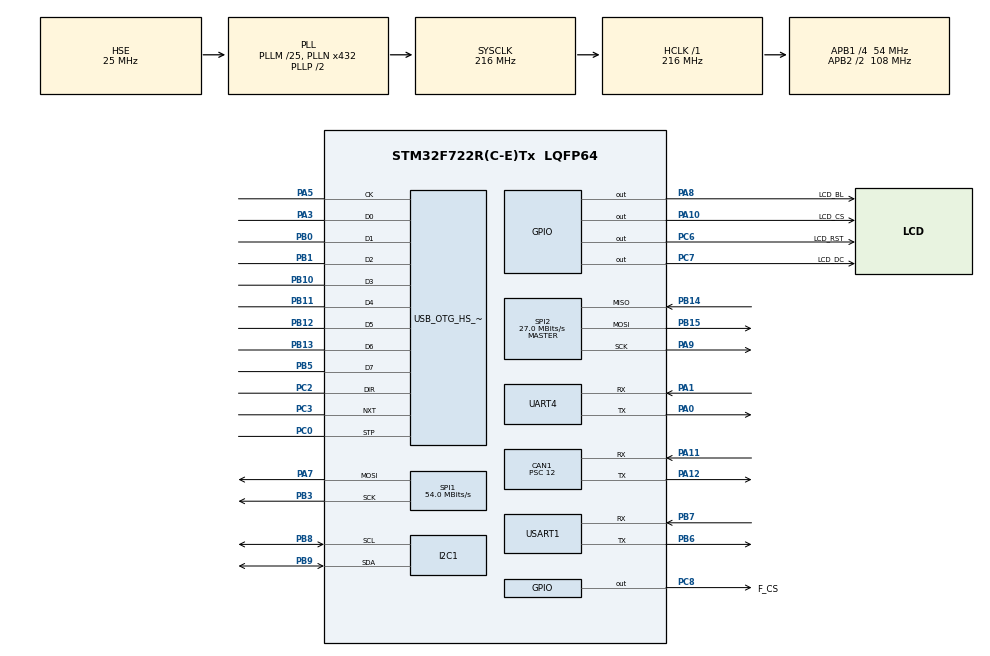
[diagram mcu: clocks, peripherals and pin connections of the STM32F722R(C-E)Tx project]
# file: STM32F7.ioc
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CAN1.ABOM=ENABLE
CAN1.AWUM=ENABLE
CAN1.BS1=CAN_BS1_5TQ
CAN1.BS2=CAN_BS2_3TQ
CAN1.CalculateBaudRate=500000
CAN1.CalculateTimeBit=2000
CAN1.CalculateTimeQuantum=222.22222222222223
CAN1.NART=ENABLE
CAN1.Prescaler=12
CAN1.TXFP=ENABLE
CORTEX_M7.default_mode_Activation=1
Dma.Request0=SPI1_TX
Dma.Request1=SPI2_TX
Dma.Request2=UART4_RX
Dma.Request3=USART1_RX
Dma.Request4=USART1_TX
Dma.SPI1_TX.0.Direction=DMA_MEMORY_TO_PERIPH
Dma.SPI1_TX.0.FIFOMode=DMA_FIFOMODE_DISABLE
Dma.SPI1_TX.0.Instance=DMA2_Stream3
Dma.SPI1_TX.0.MemDataAlignment=DMA_MDATAALIGN_HALFWORD
Dma.SPI1_TX.0.MemInc=DMA_MINC_ENABLE
Dma.SPI1_TX.0.Mode=DMA_NORMAL
Dma.SPI1_TX.0.PeriphDataAlignment=DMA_PDATAALIGN_HALFWORD
Dma.SPI1_TX.0.PeriphInc=DMA_PINC_DISABLE
Dma.SPI1_TX.0.Priority=DMA_PRIORITY_VERY_HIGH
Dma.SPI2_TX.1.Direction=DMA_MEMORY_TO_PERIPH
Dma.SPI2_TX.1.FIFOMode=DMA_FIFOMODE_DISABLE
Dma.SPI2_TX.1.Instance=DMA1_Stream4
Dma.SPI2_TX.1.MemDataAlignment=DMA_MDATAALIGN_HALFWORD
Dma.SPI2_TX.1.MemInc=DMA_MINC_ENABLE
Dma.SPI2_TX.1.Mode=DMA_NORMAL
Dma.SPI2_TX.1.PeriphDataAlignment=DMA_PDATAALIGN_HALFWORD
Dma.SPI2_TX.1.PeriphInc=DMA_PINC_DISABLE
Dma.SPI2_TX.1.Priority=DMA_PRIORITY_VERY_HIGH
Dma.UART4_RX.2.Direction=DMA_PERIPH_TO_MEMORY
Dma.UART4_RX.2.FIFOMode=DMA_FIFOMODE_DISABLE
Dma.UART4_RX.2.Instance=DMA1_Stream2
Dma.UART4_RX.2.MemDataAlignment=DMA_MDATAALIGN_BYTE
Dma.UART4_RX.2.MemInc=DMA_MINC_ENABLE
Dma.UART4_RX.2.Mode=DMA_CIRCULAR
Dma.UART4_RX.2.PeriphDataAlignment=DMA_PDATAALIGN_BYTE
Dma.UART4_RX.2.PeriphInc=DMA_PINC_DISABLE
Dma.UART4_RX.2.Priority=DMA_PRIORITY_LOW
Dma.USART1_RX.3.Direction=DMA_PERIPH_TO_MEMORY
Dma.USART1_RX.3.FIFOMode=DMA_FIFOMODE_DISABLE
Dma.USART1_RX.3.Instance=DMA2_Stream2
Dma.USART1_RX.3.MemDataAlignment=DMA_MDATAALIGN_BYTE
Dma.USART1_RX.3.MemInc=DMA_MINC_ENABLE
Dma.USART1_RX.3.Mode=DMA_CIRCULAR
Dma.USART1_RX.3.PeriphDataAlignment=DMA_PDATAALIGN_BYTE
Dma.USART1_RX.3.PeriphInc=DMA_PINC_DISABLE
Dma.USART1_RX.3.Priority=DMA_PRIORITY_LOW
Dma.USART1_TX.4.Direction=DMA_MEMORY_TO_PERIPH
Dma.USART1_TX.4.FIFOMode=DMA_FIFOMODE_DISABLE
Dma.USART1_TX.4.Instance=DMA2_Stream7
Dma.USART1_TX.4.MemDataAlignment=DMA_MDATAALIGN_BYTE
Dma.USART1_TX.4.MemInc=DMA_MINC_ENABLE
Dma.USART1_TX.4.Mode=DMA_NORMAL
Dma.USART1_TX.4.PeriphDataAlignment=DMA_PDATAALIGN_BYTE
Dma.USART1_TX.4.PeriphInc=DMA_PINC_DISABLE
Dma.USART1_TX.4.Priority=DMA_PRIORITY_LOW
FREERTOS.Tasks01=defaultTask,0,128,StartDefaultTask,Default,NULL,Dynamic,NULL,NULL;myTask02,0,128,screen_task,Default,NULL,Dynamic,NULL,NULL;myTask03,1,256,StartTask03,Default,NULL,Dynamic,NULL,NULL
I2C1.Timing=0x20404768
Mcu.Family=STM32F7
Mcu.Name=STM32F722R(C-E)Tx
Mcu.Package=LQFP64
NVIC.CAN1_RX0_IRQn=true\:5\:0\:false\:false\:true\:true\:true\:true\:true
NVIC.DMA1_Stream2_IRQn=true\:5\:0\:false\:false\:true\:true\:false\:true\:true
NVIC.DMA1_Stream4_IRQn=true\:5\:0\:false\:false\:true\:true\:false\:true\:true
NVIC.DMA2_Stream2_IRQn=true\:5\:0\:false\:false\:true\:true\:false\:true\:true
NVIC.DMA2_Stream3_IRQn=true\:5\:0\:false\:false\:true\:true\:false\:true\:true
NVIC.DMA2_Stream7_IRQn=true\:5\:0\:false\:false\:true\:true\:false\:true\:true
NVIC.OTG_HS_IRQn=true\:5\:0\:false\:false\:true\:true\:true\:true\:true
NVIC.PriorityGroup=NVIC_PRIORITYGROUP_4
NVIC.TIM8_TRG_COM_TIM14_IRQn=true\:15\:0\:false\:false\:true\:false\:false\:true\:true
NVIC.TimeBase=TIM8_TRG_COM_TIM14_IRQn
NVIC.TimeBaseIP=TIM14
NVIC.UART4_IRQn=true\:6\:0\:true\:false\:true\:true\:true\:true\:true
NVIC.USART1_IRQn=true\:6\:0\:true\:false\:true\:true\:true\:true\:true
PA0-WKUP.Mode=Asynchronous
PA0-WKUP.Signal=UART4_TX
PA1.Mode=Asynchronous
PA1.Signal=UART4_RX
PA10.GPIO_Label=LCD_CS
PA10.Signal=GPIO_Output
PA11.Mode=CAN_Activate
PA11.Signal=CAN1_RX
PA12.Mode=CAN_Activate
PA12.Signal=CAN1_TX
PA13.Mode=Serial_Wire
PA13.Signal=SYS_JTMS-SWDIO
PA14.Mode=Serial_Wire
PA14.Signal=SYS_JTCK-SWCLK
PA3.Mode=External_Phy_Device
PA3.Signal=USB_OTG_HS_ULPI_D0
PA5.Mode=External_Phy_Device
PA5.Signal=USB_OTG_HS_ULPI_CK
PA7.Mode=TX_Only_Simplex_Unidirect_Master
PA7.Signal=SPI1_MOSI
PA8.GPIO_Label=LCD_BL
PA8.GPIO_PuPd=GPIO_NOPULL
PA8.PinState=GPIO_PIN_RESET
PA8.Signal=GPIO_Output
PA9.Mode=Full_Duplex_Master
PA9.Signal=SPI2_SCK
PB0.Mode=External_Phy_Device
PB0.Signal=USB_OTG_HS_ULPI_D1
PB1.Mode=External_Phy_Device
PB1.Signal=USB_OTG_HS_ULPI_D2
PB10.Mode=External_Phy_Device
PB10.Signal=USB_OTG_HS_ULPI_D3
PB11.Mode=External_Phy_Device
PB11.Signal=USB_OTG_HS_ULPI_D4
PB12.Mode=External_Phy_Device
PB12.Signal=USB_OTG_HS_ULPI_D5
PB13.Mode=External_Phy_Device
PB13.Signal=USB_OTG_HS_ULPI_D6
PB14.Mode=Full_Duplex_Master
PB14.Signal=SPI2_MISO
PB15.Mode=Full_Duplex_Master
PB15.Signal=SPI2_MOSI
PB3.Mode=TX_Only_Simplex_Unidirect_Master
PB3.Signal=SPI1_SCK
PB5.Mode=External_Phy_Device
PB5.Signal=USB_OTG_HS_ULPI_D7
PB6.Mode=Asynchronous
PB6.Signal=USART1_TX
PB7.Mode=Asynchronous
PB7.Signal=USART1_RX
PB8.Mode=I2C
PB8.Signal=I2C1_SCL
PB9.Mode=I2C
PB9.Signal=I2C1_SDA
PC0.Mode=External_Phy_Device
PC0.Signal=USB_OTG_HS_ULPI_STP
PC2.Mode=External_Phy_Device
PC2.Signal=USB_OTG_HS_ULPI_DIR
PC3.Mode=External_Phy_Device
PC3.Signal=USB_OTG_HS_ULPI_NXT
PC6.GPIO_Label=LCD_RST
PC6.Signal=GPIO_Output
PC7.GPIO_Label=LCD_DC
PC7.Signal=GPIO_Output
PC8.GPIO_Label=F_CS
PC8.Signal=GPIO_Output
PH0-OSC_IN.Mode=HSE-External-Oscillator
PH0-OSC_IN.Signal=RCC_OSC_IN
PH1-OSC_OUT.Mode=HSE-External-Oscillator
PH1-OSC_OUT.Signal=RCC_OSC_OUT
ProjectManager.HeapSize=0x600
ProjectManager.StackSize=0x400
ProjectManager.TargetToolchain=MDK-ARM V5.32
RCC.AHBFreq_Value=216000000
RCC.APB1CLKDivider=RCC_HCLK_DIV4
RCC.APB1Freq_Value=54000000
RCC.APB1TimFreq_Value=108000000
RCC.APB2CLKDivider=RCC_HCLK_DIV2
RCC.APB2Freq_Value=108000000
RCC.APB2TimFreq_Value=216000000
RCC.CortexFreq_Value=216000000
RCC.HCLKFreq_Value=216000000
RCC.HSE_VALUE=25000000
RCC.HSI_VALUE=16000000
RCC.LSE_VALUE=32768
RCC.PLLM=25
RCC.PLLN=432
RCC.PLLSourceVirtual=RCC_PLLSOURCE_HSE
RCC.SYSCLKFreq_VALUE=216000000
RCC.SYSCLKSource=RCC_SYSCLKSOURCE_PLLCLK
RCC.USBFreq_Value=216000000
RCC.VCOOutputFreq_Value=432000000
SPI1.BaudRatePrescaler=SPI_BAUDRATEPRESCALER_2
SPI1.CalculateBaudRate=54.0 MBits/s
SPI1.DataSize=SPI_DATASIZE_8BIT
SPI1.Direction=SPI_DIRECTION_2LINES
SPI1.Mode=SPI_MODE_MASTER
SPI1.VirtualType=VM_MASTER
SPI2.BaudRatePrescaler=SPI_BAUDRATEPRESCALER_2
SPI2.CalculateBaudRate=27.0 MBits/s
SPI2.DataSize=SPI_DATASIZE_8BIT
SPI2.Direction=SPI_DIRECTION_2LINES
SPI2.Mode=SPI_MODE_MASTER
SPI2.VirtualType=VM_MASTER
USART1.VirtualMode-Asynchronous=VM_ASYNC
USB_DEVICE.APP_RX_DATA_SIZE-CDC_HS=512
USB_DEVICE.APP_TX_DATA_SIZE-CDC_HS=512
USB_DEVICE.CLASS_NAME_HS=CDC
USB_DEVICE.VirtualMode-CDC_HS=Cdc
USB_DEVICE.VirtualModeHS=Cdc_HS
USB_OTG_HS.VirtualMode-External_Phy_Device=Ext_Phy_Device
VP_FREERTOS_VS_CMSIS_V1.Mode=CMSIS_V1
VP_SYS_VS_tim14.Mode=TIM14
VP_USB_DEVICE_VS_USB_DEVICE_CDC_HS.Mode=CDC_HS
board=custom

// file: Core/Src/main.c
/* USER CODE BEGIN Header */
/**
  ******************************************************************************
  * @file           : main.c
  * @brief          : Main program body
  ******************************************************************************
  * @attention
  *
  * Copyright (c) 2024 STMicroelectronics.
  * All rights reserved.
  *
  * This software is licensed under terms that can be found in the LICENSE file
  * in the root directory of this software component.
  * If no LICENSE file comes with this software, it is provided AS-IS.
  *
  ******************************************************************************
  */
/* USER CODE END Header */
#include "main.h"
#include "cmsis_os.h"
#include "can.h"
#include "dma.h"
#include "i2c.h"
#include "spi.h"
#include "usart.h"
#include "usb_device.h"
#include "gpio.h"

/* USER CODE BEGIN Includes */
#include "screen.h"
#include "image.h"
#include "configurations.h"
#include "User_usb.h"
#include "mpu6050.h"
/* USER CODE END Includes */

/* USER CODE BEGIN PM */
extern uint8_t gImage_1[4][43200];
extern uint8_t gImage_2[4][43200];
extern USBD_HandleTypeDef hUsbDeviceHS;
extern USBD_CDC_HandleTypeDef *hcdc;

uint8_t UART1_Rx_Buf[16];
/* USER CODE END PM */

void SystemClock_Config(void);
static void MPU_Config(void);
void MX_FREERTOS_Init(void);

int main(void)
{

  /* MPU Configuration--------------------------------------------------------*/
  MPU_Config();

  /* MCU Configuration--------------------------------------------------------*/

  /* Reset of all peripherals, Initializes the Flash interface and the Systick. */
  HAL_Init();

  /* Configure the system clock */
  SystemClock_Config();

  /* Initialize all configured peripherals */
  MX_GPIO_Init();
  MX_DMA_Init();
  MX_CAN1_Init();
  MX_I2C1_Init();
  MX_UART4_Init();
  MX_USART1_UART_Init();
  MX_SPI1_Init();
  MX_SPI2_Init();
  /* USER CODE BEGIN 2 */
//  __HAL_UART_ENABLE_IT(&huart1, UART_IT_IDLE);
	HAL_UART_Receive_DMA(&huart1,UART1_Rx_Buf,16u);

	CAN1_Filterinit_And_Start();

	MPU6050_Init();//MPU6050初始化配置
	if(MPU6050ReadID() == 0)//读取MPU6050 ID
	{
	  while(1);
  }

	//HAL_Delay(1500);
	screen_init(DEGREE_0);
	Screen_SetWindow(0, 239, 0, 239);

  /* USER CODE END 2 */

  /* Call init function for freertos objects (in cmsis_os2.c) */
  MX_FREERTOS_Init();

  /* Start scheduler */
  osKernelStart();

  /* We should never get here as control is now taken by the scheduler */

  /* Infinite loop */
  while (1)
  {

  }
}

void SystemClock_Config(void)
{
  RCC_OscInitTypeDef RCC_OscInitStruct = {0};
  RCC_ClkInitTypeDef RCC_ClkInitStruct = {0};

  /** Configure the main internal regulator output voltage
  */
  __HAL_RCC_PWR_CLK_ENABLE();
  __HAL_PWR_VOLTAGESCALING_CONFIG(PWR_REGULATOR_VOLTAGE_SCALE1);

  /** Initializes the RCC Oscillators according to the specified parameters
  * in the RCC_OscInitTypeDef structure.
  */
  RCC_OscInitStruct.OscillatorType = RCC_OSCILLATORTYPE_HSE;
  RCC_OscInitStruct.HSEState = RCC_HSE_ON;
  RCC_OscInitStruct.PLL.PLLState = RCC_PLL_ON;
  RCC_OscInitStruct.PLL.PLLSource = RCC_PLLSOURCE_HSE;
  RCC_OscInitStruct.PLL.PLLM = 25;
  RCC_OscInitStruct.PLL.PLLN = 432;
  RCC_OscInitStruct.PLL.PLLP = RCC_PLLP_DIV2;
  RCC_OscInitStruct.PLL.PLLQ = 2;
  if (HAL_RCC_OscConfig(&RCC_OscInitStruct) != HAL_OK)
  {
    Error_Handler();
  }

  /** Activate the Over-Drive mode
  */
  if (HAL_PWREx_EnableOverDrive() != HAL_OK)
  {
    Error_Handler();
  }

  /** Initializes the CPU, AHB and APB buses clocks
  */
  RCC_ClkInitStruct.ClockType = RCC_CLOCKTYPE_HCLK|RCC_CLOCKTYPE_SYSCLK
                              |RCC_CLOCKTYPE_PCLK1|RCC_CLOCKTYPE_PCLK2;
  RCC_ClkInitStruct.SYSCLKSource = RCC_SYSCLKSOURCE_PLLCLK;
  RCC_ClkInitStruct.AHBCLKDivider = RCC_SYSCLK_DIV1;
  RCC_ClkInitStruct.APB1CLKDivider = RCC_HCLK_DIV4;
  RCC_ClkInitStruct.APB2CLKDivider = RCC_HCLK_DIV2;

  if (HAL_RCC_ClockConfig(&RCC_ClkInitStruct, FLASH_LATENCY_7) != HAL_OK)
  {
    Error_Handler();
  }
}

 /* MPU Configuration */

void MPU_Config(void)
{
  MPU_Region_InitTypeDef MPU_InitStruct = {0};

  /* Disables the MPU */
  HAL_MPU_Disable();

  /** Initializes and configures the Region and the memory to be protected
  */
  MPU_InitStruct.Enable = MPU_REGION_ENABLE;
  MPU_InitStruct.Number = MPU_REGION_NUMBER0;
  MPU_InitStruct.BaseAddress = 0x0;
  MPU_InitStruct.Size = MPU_REGION_SIZE_4GB;
  MPU_InitStruct.SubRegionDisable = 0x87;
  MPU_InitStruct.TypeExtField = MPU_TEX_LEVEL0;
  MPU_InitStruct.AccessPermission = MPU_REGION_NO_ACCESS;
  MPU_InitStruct.DisableExec = MPU_INSTRUCTION_ACCESS_DISABLE;
  MPU_InitStruct.IsShareable = MPU_ACCESS_SHAREABLE;
  MPU_InitStruct.IsCacheable = MPU_ACCESS_NOT_CACHEABLE;
  MPU_InitStruct.IsBufferable = MPU_ACCESS_NOT_BUFFERABLE;

  HAL_MPU_ConfigRegion(&MPU_InitStruct);
  /* Enables the MPU */
  HAL_MPU_Enable(MPU_PRIVILEGED_DEFAULT);

}

void HAL_TIM_PeriodElapsedCallback(TIM_HandleTypeDef *htim)
{
  if (htim->Instance == TIM14) {
    HAL_IncTick();
  }
}

void Error_Handler(void)
{
  __disable_irq();
  while (1)
  {
  }
}

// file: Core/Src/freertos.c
/* USER CODE BEGIN Header */
/**
  ******************************************************************************
  * File Name          : freertos.c
  * Description        : Code for freertos applications
  ******************************************************************************
  * @attention
  *
  * Copyright (c) 2024 STMicroelectronics.
  * All rights reserved.
  *
  * This software is licensed under terms that can be found in the LICENSE file
  * in the root directory of this software component.
  * If no LICENSE file comes with this software, it is provided AS-IS.
  *
  ******************************************************************************
  */
/* USER CODE END Header */

#include "FreeRTOS.h"
#include "task.h"
#include "main.h"
#include "cmsis_os.h"

/* USER CODE BEGIN Includes */
#include <string.h>
#include "screen.h"
#include "can.h"
#include "image.h"
#include "User_usb.h"
#include "configurations.h"
#include "mpu6050.h"
#include "usart.h"
/* USER CODE END Includes */

osThreadId defaultTaskHandle;
osThreadId myTask02Handle;
osThreadId myTask03Handle;

void StartDefaultTask(void const * argument);
void screen_task(void const * argument);
void StartTask03(void const * argument);

extern void MX_USB_DEVICE_Init(void);
void MX_FREERTOS_Init(void); /* (MISRA C 2004 rule 8.1) */

/* GetIdleTaskMemory prototype (linked to static allocation support) */
void vApplicationGetIdleTaskMemory( StaticTask_t **ppxIdleTaskTCBBuffer, StackType_t **ppxIdleTaskStackBuffer, uint32_t *pulIdleTaskStackSize );

/* USER CODE BEGIN GET_IDLE_TASK_MEMORY */
static StaticTask_t xIdleTaskTCBBuffer;
static StackType_t xIdleStack[configMINIMAL_STACK_SIZE];

void vApplicationGetIdleTaskMemory( StaticTask_t **ppxIdleTaskTCBBuffer, StackType_t **ppxIdleTaskStackBuffer, uint32_t *pulIdleTaskStackSize )
{
  *ppxIdleTaskTCBBuffer = &xIdleTaskTCBBuffer;
  *ppxIdleTaskStackBuffer = &xIdleStack[0];
  *pulIdleTaskStackSize = configMINIMAL_STACK_SIZE;
  /* place for user code */
}
/* USER CODE END GET_IDLE_TASK_MEMORY */

void MX_FREERTOS_Init(void) {

  /* Create the thread(s) */
  /* definition and creation of defaultTask */
  osThreadDef(defaultTask, StartDefaultTask, osPriorityNormal, 0, 128);
  defaultTaskHandle = osThreadCreate(osThread(defaultTask), NULL);

  /* definition and creation of myTask02 */
  osThreadDef(myTask02, screen_task, osPriorityNormal, 0, 128);
  myTask02Handle = osThreadCreate(osThread(myTask02), NULL);

  /* definition and creation of myTask03 */
  osThreadDef(myTask03, StartTask03, osPriorityAboveNormal, 0, 256);
  myTask03Handle = osThreadCreate(osThread(myTask03), NULL);

}

/* USER CODE BEGIN Header_StartDefaultTask */
bool User_Usb_Finish;
int cnt12=5;
uint8_t isEnabled=0;
uint8_t can_task_static=0;
uint8_t can_task_enable_static=0;

unsigned char t,CleanTime;
uint32_t TimeCounter;
extern void i2c_CfgGpio(void);
short Accel[3];
short Gyro [3];
short Temp;
float AccelData[3];//��λmg
float GyroData[3];//��λmdps

/**
  * @brief  Function implementing the defaultTask thread.
  * @param  argument: Not used
  * @retval None
  */
/* USER CODE END Header_StartDefaultTask */
void StartDefaultTask(void const * argument)
{
  /* init code for USB_DEVICE */
  MX_USB_DEVICE_Init();
  /* USER CODE BEGIN StartDefaultTask */
  /* Infinite loop */
  for(;;)
  {

		MPU6050ReadGyro(Gyro);
		for( int i=0;i<3;i++)
		{

		if(Gyro[i]>=0)
		{

			GyroData[i]=Gyro[i]*2000/32768;
		}else
		{

			GyroData[i]=-(-Gyro[i]+1)*2000/32768;

		}
	 }
    if(User_Usb_Finish==1)
    {
      // get joint angles
      uint8_t* ptr = GetExtraDataRxPtr();
			memcpy(&boardConfig[0].target_angle, ptr + 1, sizeof(float));
			memcpy(&boardConfig[1].target_angle, ptr + 5, sizeof(float));
			memcpy(&boardConfig[2].target_angle, ptr + 9, sizeof(float));
			memcpy(&boardConfig[3].target_angle, ptr + 13, sizeof(float));
			memcpy(&boardConfig[4].target_angle, ptr + 17, sizeof(float));
			memcpy(&boardConfig[5].target_angle, ptr + 21, sizeof(float));

      if ((isEnabled != (bool) ptr[0]))
      {
				if(can_task_enable_static==0)
				{
          Can_Send_uint8(0x01,0x13,ptr[0]);
          Can_Send_uint8(0x06,0x13,ptr[0]);
          Can_Send_uint8(0x03,0x13,ptr[0]);
					can_task_enable_static=1;
				}
				else if(can_task_enable_static==1)
				{
          Can_Send_uint8(0x04,0x13,ptr[0]);
          Can_Send_uint8(0x05,0x13,ptr[0]);
          Can_Send_uint8(0x02,0x13,ptr[0]);
					isEnabled = ptr[0];
					can_task_enable_static=0;
				}
      }
			else
			{

			}
			if(can_task_static==0)
			{
				Can_Send_float(1,0x14,boardConfig[0].target_angle);
				Can_Send_float(2,0x14,boardConfig[1].target_angle);
				Can_Send_float(3,0x14,boardConfig[2].target_angle);
				can_task_static=1;
			}
			else if(can_task_static==1)
			{
				Can_Send_float(4,0x14,boardConfig[3].target_angle);
				Can_Send_float(5,0x14,boardConfig[4].target_angle);
				Can_Send_float(6,0x14,boardConfig[5].target_angle);
				can_task_static=0;
			}
//      for (int j = 0; j < 6; j++)
//      {
//        boardConfig[j].target_angle=*((float*) (ptr + 4 * j + 1));
//      }
      User_Usb_Finish=0;
    }

    osDelay(20);
  }
  /* USER CODE END StartDefaultTask */
}

/* USER CODE BEGIN Header_screen_task */
/**
* @brief Function implementing the myTask02 thread.
* @param argument: Not used
* @retval None
*/
extern uint8_t gImage_1[4][43200];
extern uint8_t gImage_2[4][43200];

extern bool Screen_isBusy;

extern BoardConfig_t boardConfig[6];
extern struct UsbBuffer_t usbBuffer;

/* USER CODE END Header_screen_task */
void screen_task(void const * argument)
{
  /* USER CODE BEGIN screen_task */
  static int p=0;
  /* Infinite loop */
  for(;;)
  {

//		if(cnt==0)
//		{
//			for (int p = 0; p < 4; p++)
//			{
//        while (Screen_isBusy);
//			if (p == 0)
//					Screen_WriteFrameBuffer(gImage_1[0],43200,0);
//			else
//					Screen_WriteFrameBuffer(gImage_1[p],43200, true);
//			}
//			cnt=2;
//		}
//		else if(cnt==1){
//			for (int p = 0; p < 4; p++)
//			{
//        while (Screen_isBusy);
//			if (p == 0)
//					Screen_WriteFrameBuffer(gImage_2[0],43200,0);
//			else
//					Screen_WriteFrameBuffer(gImage_2[p],43200, true);
//			}
//			HAL_GPIO_WritePin(GPIOA,GPIO_PIN_8,GPIO_PIN_SET);
//			cnt=2;
//		}
		if(cnt12==5)
		{
			screen_init(2);
			Screen_SetWindow(0, 239, 0, 239);
			cnt12=0;
		}
		HAL_GPIO_WritePin(GPIOA,GPIO_PIN_8,GPIO_PIN_SET);
		for (int p = 0; p < 4; p++)
		{
        // send joint angles

        for (int j = 0; j < 6; j++)
            for (int i = 0; i < 4; i++)
            {
                unsigned char* b = (unsigned char*) &(boardConfig[j].actual_angle);
                usbBuffer.extraDataTx[j * 4 + i + 1] = *(b + i);

            }
				SendUsbPacket(usbBuffer.extraDataTx, 32);

				ReceiveUsbPacketUntilSizeIs(224); // last packet is 224bytes
        User_Usb_Finish=1;

        if(Screen_isBusy==0)
        {
          if (p == 0)
              Screen_WriteFrameBuffer(GetLcdBufferPtr(),
                                            60 * 240 * 3,0);
          else
              Screen_WriteFrameBuffer(GetLcdBufferPtr(),
                                            60 * 240 * 3, true);
        }

		}
		//Can_Send_uint8(1,0x13,cnt12);
		//Can_Send_float(1,0x14,cnt026);
    osDelay(1);
  }
  /* USER CODE END screen_task */
}

/* USER CODE BEGIN Header_StartTask03 */
/**
* @brief Function implementing the myTask03 thread.
* @param argument: Not used
* @retval None
*/
extern uint8_t get_motor_date_id;
extern uint8_t get_motor_date_flag;
extern uint8_t get_vofa_flag;
extern uint8_t get_vofa_id;
uint8_t motor_date_send[16];
extern uint8_t set_motor_flag;
extern uint8_t set_motor_id;
extern uint8_t UART1_Rx_Buf[16];
int cnt1520=0;
/* USER CODE END Header_StartTask03 */
void StartTask03(void const * argument)
{
  /* USER CODE BEGIN StartTask03 */
  /* Infinite loop */
  for(;;)
  {

		if(get_motor_date_flag!=0)
		{
			//cnt1520++;
			switch (get_motor_date_flag)
			{
				case 1:
					Can_Get_uint8(get_motor_date_id,0x09,0);
					get_motor_date_flag=2;
				HAL_Delay(10);
				break;
				case 2:
					Can_Get_uint8(get_motor_date_id,10,0);
				get_motor_date_flag=3;
				HAL_Delay(10);
				break;
				case 3:
					Can_Get_uint8(get_motor_date_id,11,0);
				get_motor_date_flag=4;
				HAL_Delay(10);
				case 4:
					Can_Get_uint8(get_motor_date_id,12,0);
				get_motor_date_flag=5;
				HAL_Delay(10);
				break;
				case 5:
					motor_date_send[0]=0x81;
					motor_date_send[15]=0x7F;

					motor_date_send[2]=get_motor_date_id;
					uint8_t* pFloat;
					float dceKp = boardConfig[(get_motor_date_id-1)].dceKp;
					memcpy(&motor_date_send[3], &dceKp, sizeof(float));

					float dceKi = boardConfig[(get_motor_date_id-1)].dceKi;
					memcpy(&motor_date_send[7], &dceKi, sizeof(float));

					float dceKd = boardConfig[(get_motor_date_id-1)].dceKd;
					memcpy(&motor_date_send[11], &dceKd, sizeof(float));
								cnt1520++;
					//HAL_UART_Transmit_DMA(&huart1,motor_date_send,sizeof(motor_date_send));
					HAL_UART_Transmit(&huart1,motor_date_send,16u,300);

//										uint8_t tail_3=0x00;
//		HAL_UART_Transmit(&huart1,(uint8_t *)&tail_3,1,0x10);

					get_motor_date_flag=0;
				break;
			}
		}

		if(get_vofa_flag==1)
		{
				report_SendData(boardConfig[get_vofa_id].actual_angle,boardConfig[get_vofa_id].target_angle);
		}

		if(set_motor_flag==1)
		{

			memcpy(&boardConfig[(set_motor_id-1)].set_Kp, &UART1_Rx_Buf[3], sizeof(float));
			memcpy(&boardConfig[(set_motor_id-1)].set_Ki, &UART1_Rx_Buf[7], sizeof(float));
			memcpy(&boardConfig[(set_motor_id-1)].set_Kd, &UART1_Rx_Buf[11], sizeof(float));
			Can_Send_float((set_motor_id),0x09,boardConfig[(set_motor_id-1)].set_Kp);
			HAL_Delay(10);
			Can_Send_float((set_motor_id),0x11,boardConfig[(set_motor_id-1)].set_Ki);
			HAL_Delay(100);
			Can_Send_float((set_motor_id),0x12,boardConfig[(set_motor_id-1)].set_Kd);
			HAL_Delay(10);
			set_motor_flag=2;
		}
		osDelay(50);
  }
  /* USER CODE END StartTask03 */
}
